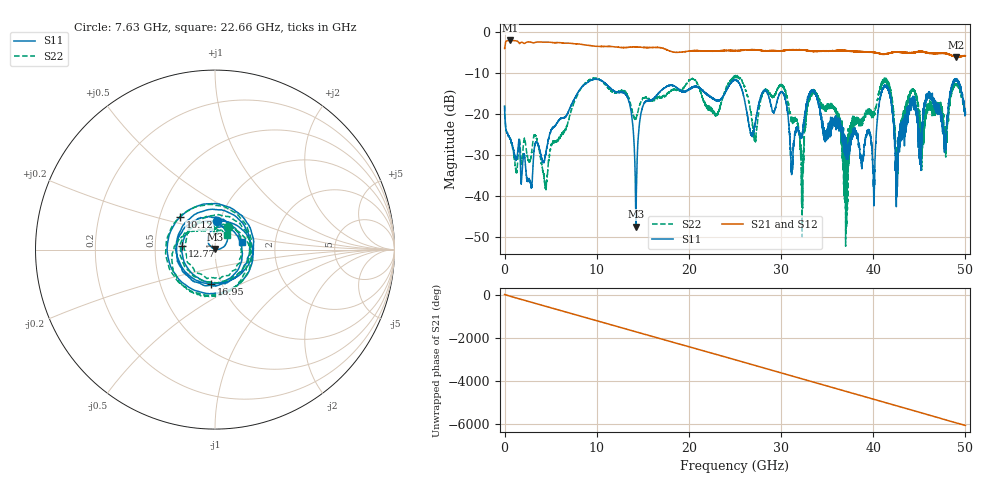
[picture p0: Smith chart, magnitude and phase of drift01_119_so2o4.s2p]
!Created with skrf (http://scikit-rf.org).
# Hz S RI R 50.0
!freq ReS11 ImS11 ReS21 ImS21 ReS12 ImS12 ReS22 ImS22
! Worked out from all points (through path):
!   10001 points, 300 kHz to 50 GHz, reference 50 ohm
!   highest |S21| = -2.00 dB at 595.3 MHz (marker M1); lowest = -6.1 dB at 48.98 GHz (marker M2)
!   group delay of S21, straight-line fit = 336 ps
!   lowest |S11| = -47.5 dB at 14.25 GHz (marker M3), VSWR 1.01, Z = 50.1 + j0.413 ohm
!   |S11| at or under -10 dB: start of sweep to end of sweep
!   |S22| runs from -52.3 to -10.5 dB; largest |S21 - S12| = 0.024
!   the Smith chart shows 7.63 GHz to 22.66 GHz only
!   S11 on the Smith chart (normalised r, x): 7.63 GHz: 0.97, +0.31; 10.12 GHz: 0.64, +0.25; 12.77 GHz: 0.69, +0.03; 16.95 GHz: 0.89, -0.35; 22.66 GHz: 1.34, +0.11
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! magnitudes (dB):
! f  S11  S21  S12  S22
! 300 kHz  -18.1  -3.9  -4.0  -17.9
! 595.3 MHz  -26.0  -2.0  -2.0  -26.0
! 4.445 GHz  -29.9  -2.4  -2.4  -37.8
! 7.63 GHz  -16.1  -2.8  -2.8  -16.7
! 8.335 GHz  -13.5  -3.0  -3.0  -13.5
! 10.12 GHz  -11.5  -3.4  -3.4  -11.3
! 12.77 GHz  -14.7  -3.7  -3.7  -14.4
! 14.25 GHz  -47.5  -3.6  -3.6  -21.2
! 16.67 GHz  -14.9  -3.7  -3.7  -15.8
! 16.95 GHz  -14.4  -3.8  -3.8  -15.6
! 22.66 GHz  -16.2  -4.7  -4.6  -19.4
! 25 GHz  -11.6  -4.5  -4.5  -11.1
! 27.15 GHz  -22.6  -4.2  -4.3  -26.1
! 30.2 GHz  -14.9  -4.5  -4.5  -13.1
! 32.27 GHz  -25.2  -4.3  -4.3  -40.1
! 33.34 GHz  -14.2  -4.6  -4.6  -14.7
! 36.99 GHz  -30.2  -4.6  -4.4  -30.1
! 40.06 GHz  -40.3  -4.9  -4.9  -20.1
! 41.67 GHz  -14.0  -5.1  -5.1  -12.8
! 42.59 GHz  -33.4  -4.8  -4.8  -32.8
! 48.98 GHz  -11.4  -6.1  -6.0  -12.7
! 50 GHz  -19.6  -5.8  -5.8  -19.5
